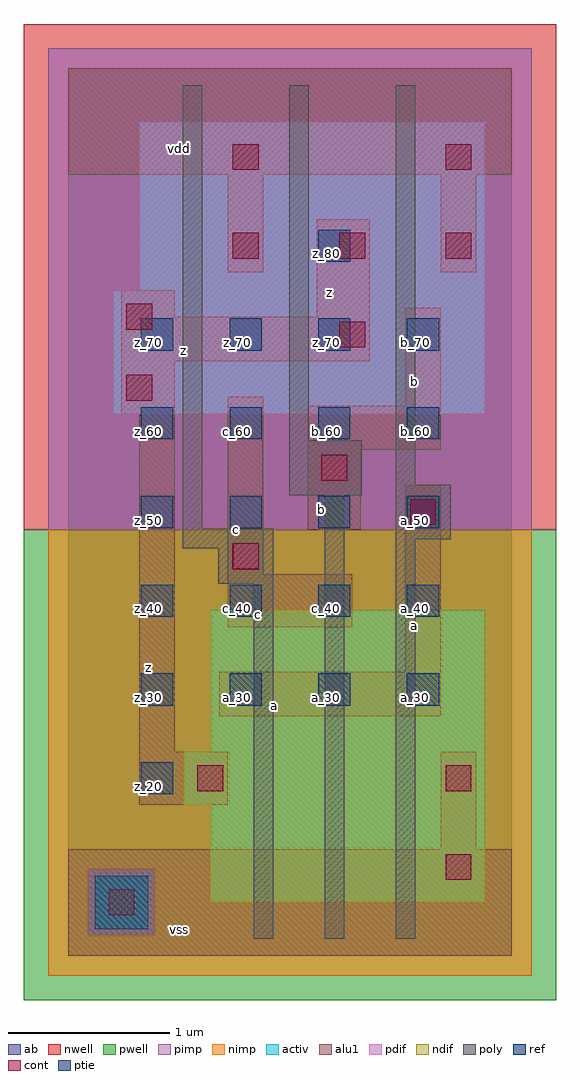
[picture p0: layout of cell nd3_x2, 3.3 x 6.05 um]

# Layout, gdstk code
import gdstk
lib = gdstk.Library(unit=1e-6, precision=2.5e-09)
def R(c, l, rs):  # rectangles x0, y0, x1, y1
    for r in rs: c.add(gdstk.rectangle(r[:2], r[2:], *l))
def A(c, l, x, y, w, h, nx, ny, dx, dy):  # array of equal rectangles
    R(c, l, [(x+i*dx, y+j*dy, x+i*dx+w, y+j*dy+h) for i in range(nx) for j in range(ny)])
ndif = (3, 0)
pdif = (4, 0)
ptie = (6, 0)
ref = (24, 0)
cont = (25, 0)
pwell = (41, 0)
nwell = (42, 0)
activ = (43, 0)
pimp = (44, 0)
nimp = (45, 0)
poly = (46, 0)
alu1 = (49, 0)
ab = (63, 0)

nd3_x2 = lib.new_cell('nd3_x2')
R(nd3_x2, ndif, [(0.88,0.33,2.585,0.935), (0.715,0.935,2.585,1.265), (0.88,1.265,2.585,2.145)])
R(nd3_x2, pdif, [(0.275,3.355,2.585,4.125), (0.44,4.125,2.585,5.17)])
R(nd3_x2, ptie, [(0.165,0.165,0.495,0.495)])
A(nd3_x2, ref, 0.45, 1.55, 0.2, 0.2, 4, 5, 0.55, 0.55)
R(nd3_x2, ref, [(0.45,1,0.65,1.2), (1.55,4.3,1.75,4.5)])
A(nd3_x2, cont, 1.02, 4.32, 0.16, 0.16, 3, 1, 0.66, 0)
R(nd3_x2, cont, [(0.25,0.25,0.41,0.41), (2.34,0.47,2.5,0.63), (0.8,1.02,0.96,1.18), (2.34,1.02,2.5,1.18), (1.02,2.395,1.18,2.555), (2.12,2.67,2.28,2.83), (1.57,2.945,1.73,3.105), (0.36,3.44,0.52,3.6), (1.68,3.77,1.84,3.93), (0.36,3.88,0.52,4.04), (1.02,4.87,1.18,5.03), (2.34,4.87,2.5,5.03)])
R(nd3_x2, pwell, [(-0.275,-0.275,3.025,2.64)])
R(nd3_x2, nwell, [(-0.275,2.64,3.025,5.775)])
R(nd3_x2, activ, [(0.165,0.165,0.495,0.495), (0.88,0.33,2.585,0.935), (0.715,0.935,2.585,1.265), (0.88,1.265,2.585,2.145), (0.275,3.355,2.585,4.125), (0.44,4.125,2.585,5.17)])
R(nd3_x2, pimp, [(0.125,0.125,0.535,0.535), (-0.125,2.64,2.875,5.625)])
R(nd3_x2, nimp, [(-0.125,-0.125,2.875,0.125), (-0.125,0.125,0.125,0.535), (0.535,0.125,2.875,0.535), (-0.125,0.535,2.875,2.64)])
R(nd3_x2, poly, [(1.15,0.105,1.27,2.305), (1.59,0.105,1.71,2.855), (2.03,0.105,2.15,2.58), (0.93,2.305,1.27,2.525), (0.71,2.525,1.27,2.645), (2.03,2.58,2.37,2.92), (0.71,2.645,0.83,5.395), (1.37,2.855,1.82,3.195), (2.03,2.92,2.15,5.395), (1.37,3.195,1.49,5.395)])
R(nd3_x2, alu1, [(0,0,2.75,0.66), (2.31,0.66,2.53,1.265), (0.44,0.935,0.99,1.265), (0.44,1.265,0.66,3.355), (0.935,1.485,2.31,1.76), (2.09,1.76,2.31,2.915), (0.99,2.035,1.76,2.365), (0.99,2.365,1.21,3.465), (1.485,2.64,1.815,3.135), (1.485,3.135,2.31,3.41), (0.33,3.355,0.66,3.685), (2.09,3.41,2.31,4.015), (0.33,3.685,1.87,3.96), (0.33,3.96,0.66,4.125), (1.54,3.96,1.87,4.565), (0.99,4.235,1.21,4.84), (2.31,4.235,2.53,4.84), (0,4.84,2.75,5.5)])
R(nd3_x2, ab, [(0,0,2.75,5.5)])
nd3_x2.add(gdstk.Label('vss', (0.6875,0.165), layer=49, texttype=0))
nd3_x2.add(gdstk.Label('a', (1.2775,1.5525), layer=49, texttype=0))
nd3_x2.add(gdstk.Label('a', (2.145,2.0475), layer=49, texttype=0))
nd3_x2.add(gdstk.Label('c', (1.1825,2.1175), layer=49, texttype=0))
nd3_x2.add(gdstk.Label('b', (1.5675,2.7625), layer=49, texttype=0))
nd3_x2.add(gdstk.Label('b', (2.145,3.56), layer=49, texttype=0))
nd3_x2.add(gdstk.Label('c', (1.045,2.64), layer=49, texttype=0))
nd3_x2.add(gdstk.Label('z', (0.495,1.7875), layer=49, texttype=0))
nd3_x2.add(gdstk.Label('z', (0.715,3.7525), layer=49, texttype=0))
nd3_x2.add(gdstk.Label('z', (1.6225,4.11), layer=49, texttype=0))
nd3_x2.add(gdstk.Label('vdd', (0.6875,5.005), layer=49, texttype=0))
nd3_x2.add(gdstk.Label('b_50', (1.6,2.7), layer=24, texttype=0))
nd3_x2.add(gdstk.Label('a_30', (1.05,1.6), layer=24, texttype=0))
nd3_x2.add(gdstk.Label('z_20', (0.5,1.05), layer=24, texttype=0))
nd3_x2.add(gdstk.Label('c_60', (1.05,3.25), layer=24, texttype=0))
nd3_x2.add(gdstk.Label('b_70', (2.15,3.8), layer=24, texttype=0))
nd3_x2.add(gdstk.Label('b_60', (2.15,3.25), layer=24, texttype=0))
nd3_x2.add(gdstk.Label('a_30', (1.6,1.6), layer=24, texttype=0))
nd3_x2.add(gdstk.Label('c_40', (1.05,2.15), layer=24, texttype=0))
nd3_x2.add(gdstk.Label('z_30', (0.5,1.6), layer=24, texttype=0))
nd3_x2.add(gdstk.Label('a_40', (2.15,2.15), layer=24, texttype=0))
nd3_x2.add(gdstk.Label('a_30', (2.15,1.6), layer=24, texttype=0))
nd3_x2.add(gdstk.Label('z_40', (0.5,2.15), layer=24, texttype=0))
nd3_x2.add(gdstk.Label('z_50', (0.5,2.7), layer=24, texttype=0))
nd3_x2.add(gdstk.Label('z_60', (0.5,3.25), layer=24, texttype=0))
nd3_x2.add(gdstk.Label('z_70', (0.5,3.8), layer=24, texttype=0))
nd3_x2.add(gdstk.Label('c_40', (1.6,2.15), layer=24, texttype=0))
nd3_x2.add(gdstk.Label('b_60', (1.6,3.25), layer=24, texttype=0))
nd3_x2.add(gdstk.Label('a_50', (2.15,2.7), layer=24, texttype=0))
nd3_x2.add(gdstk.Label('c_50', (1.05,2.7), layer=24, texttype=0))
nd3_x2.add(gdstk.Label('z_70', (1.05,3.8), layer=24, texttype=0))
nd3_x2.add(gdstk.Label('z_70', (1.6,3.8), layer=24, texttype=0))
nd3_x2.add(gdstk.Label('z_80', (1.6,4.35), layer=24, texttype=0))

lib.write_gds('nd3_x2.gds')
